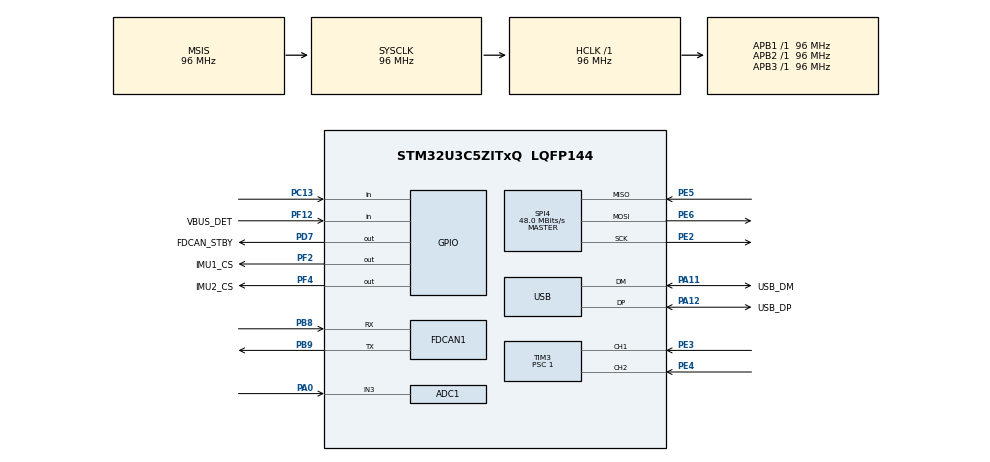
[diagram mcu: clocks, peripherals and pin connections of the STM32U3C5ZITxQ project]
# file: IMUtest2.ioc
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ADC1.Channel-0\#ChannelRegularConversion=ADC_CHANNEL_3
ADC1.MonitoredBy-0\#ChannelRegularConversion=__NULL
ADC1.NbrOfConversion=1
ADC1.NbrOfConversionFlag=1
ADC1.OffsetNumber-0\#ChannelRegularConversion=ADC_OFFSET_NONE
ADC1.Rank-0\#ChannelRegularConversion=1
ADC1.SamplingTime-0\#ChannelRegularConversion=ADC_SAMPLETIME_1CYCLE_5
ADC1.master=1
CORTEX_M33_NS.userName=CORTEX_M33
FDCAN1.AutoRetransmission=ENABLE
FDCAN1.CalculateBaudRateNominal=500000
FDCAN1.CalculateTimeBitNominal=2000
FDCAN1.CalculateTimeQuantumNominal=125.0
FDCAN1.DataPrescaler=1
FDCAN1.DataSyncJumpWidth=1
FDCAN1.DataTimeSeg1=1
FDCAN1.DataTimeSeg2=1
FDCAN1.NominalPrescaler=12
FDCAN1.NominalSyncJumpWidth=2
FDCAN1.NominalTimeSeg1=13
FDCAN1.NominalTimeSeg2=2
Mcu.Family=STM32U3
Mcu.Name=STM32U3C5ZITxQ
Mcu.Package=LQFP144
NUCLEO-U3C5ZI-Q.BUTTON=1
NUCLEO-U3C5ZI-Q.LD1=true
NUCLEO-U3C5ZI-Q.LD2=true
NUCLEO-U3C5ZI-Q.LD3=true
NUCLEO-U3C5ZI-Q.VCP=true
NVIC.EXTI13_IRQn=true\:0\:0\:false\:false\:true\:false\:true\:true
NVIC.PriorityGroup=NVIC_PRIORITYGROUP_4
NVIC.TIM3_IRQn=true\:0\:0\:false\:false\:true\:true\:true\:true
NVIC.USB_FS_IRQn=true\:0\:0\:false\:false\:true\:true\:true\:true
PA0.Mode=IN3-Single-Ended
PA0.Signal=ADC1_IN3
PA10.Signal=USART1_RX
PA11.GPIO_Label=USB_DM
PA11.Mode=Device
PA11.Signal=USB_DM
PA12.GPIO_Label=USB_DP
PA12.Mode=Device
PA12.Signal=USB_DP
PA13\ (JTMS/SWDIO).GPIO_Label=DEBUG_JTMS-SWDIO
PA13\ (JTMS/SWDIO).Signal=DEBUG_JTMS-SWDIO
PA14\ (JTCK/SWCLK).GPIO_Label=DEBUG_JTCK-SWCLK
PA14\ (JTCK/SWCLK).Signal=DEBUG_JTCK-SWCLK
PA15\ (JTDI).GPIO_Label=DEBUG_JTDI
PA15\ (JTDI).Signal=DEBUG_JTDI
PA9.Signal=USART1_TX
PB3\ (JTDO/TRACESWO).GPIO_Label=DEBUG_JTDO-SWO
PB3\ (JTDO/TRACESWO).Signal=DEBUG_JTDO-SWO
PB8.GPIO_FM8=SYSCFG_FASTMODEPLUS_PB8
PB8.GPIO_Speed=GPIO_SPEED_FREQ_VERY_HIGH
PB8.Mode=FDCAN_Activate
PB8.Signal=FDCAN1_RX
PB9.GPIO_FM9=SYSCFG_FASTMODEPLUS_PB9
PB9.GPIO_Speed=GPIO_SPEED_FREQ_VERY_HIGH
PB9.Mode=FDCAN_Activate
PB9.Signal=FDCAN1_TX
PC13.Signal=GPIO_Input
PC14-OSC32_IN\ (PC14).GPIO_Label=RCC_OSC32_IN
PC14-OSC32_IN\ (PC14).Signal=RCC_OSC32_IN
PC15-OSC32_OUT\ (PC15).GPIO_Label=RCC_OSC32_OUT
PC15-OSC32_OUT\ (PC15).Signal=RCC_OSC32_OUT
PC2.GPIO_Label=VSENSE(ADC2_IN1)
PC2.Signal=ADC2_IN1
PD7.GPIO_Label=FDCAN_STBY
PD7.Signal=GPIO_Output
PE2.Mode=Full_Duplex_Master
PE2.Signal=SPI4_SCK
PE3.Signal=S_TIM3_CH1
PE4.Signal=S_TIM3_CH2
PE5.Mode=Full_Duplex_Master
PE5.Signal=SPI4_MISO
PE6.Mode=Full_Duplex_Master
PE6.Signal=SPI4_MOSI
PF12.GPIO_Label=VBUS_DET
PF12.Signal=GPIO_Input
PF2.GPIO_Label=IMU1_CS
PF2.Signal=GPIO_Output
PF4.GPIO_Label=IMU2_CS
PF4.Signal=GPIO_Output
PF8.Signal=FDCAN1_TX
PH0-OSC_IN\ (PH0).Signal=RCC_OSC_IN
PH1-OSC_OUT\ (PH1).Signal=RCC_OSC_OUT
ProjectManager.HeapSize=0x200
ProjectManager.StackSize=0x400
ProjectManager.TargetToolchain=STM32CubeIDE
RCC.ADCFreq_Value=96000000
RCC.AHBFreq_Value=96000000
RCC.APB1Freq_Value=96000000
RCC.APB1TimFreq_Value=96000000
RCC.APB2Freq_Value=96000000
RCC.APB2TimFreq_Value=96000000
RCC.APB3Freq_Value=96000000
RCC.CortexFreq_Value=12000000
RCC.HCLKFreq_Value=96000000
RCC.HSE_VALUE=16000000
RCC.HSI48_VALUE=48000000
RCC.HSI_VALUE=16000000
RCC.ICLKCLockSelection=RCC_ICLKCLKSOURCE_HSI48
RCC.LSE_VALUE=32768
RCC.LSIDIV_VALUE=32000
RCC.MSISDIV=RCC_MSI_DIV1
RCC.SYSCLKFreq_VALUE=96000000
RCC.USBFreq_Value=48000000
SH.S_TIM3_CH1.0=TIM3_CH1,Input_Capture1_from_TI1
SH.S_TIM3_CH2.0=TIM3_CH2,Input_Capture2_from_TI2
SPI4.BaudRatePrescaler=SPI_BAUDRATEPRESCALER_2
SPI4.CalculateBaudRate=48.0 MBits/s
SPI4.Direction=SPI_DIRECTION_2LINES
SPI4.Mode=SPI_MODE_MASTER
SPI4.VirtualType=VM_MASTER
TIM3.Channel-Input_Capture1_from_TI1=TIM_CHANNEL_1
TIM3.Channel-Input_Capture2_from_TI2=TIM_CHANNEL_2
TIM3.PeriodNoDither=65535
TIM3.Prescaler=1
USB.VirtualMode=Device_Only
USBX.BSP.number=1
USBX.Core_System=1
USBX.USBD_CDCACM_EPIN_ADDR=2
USBX.USBD_CDCACM_EPOUT_ADDR=3
USBX.UX_DEVICE_CDC_ACM=1
USBX.UX_Device_Controller=1
USBX.UX_Device_CoreStack=1
USBX0.BSP.STBoard=false
USBX0.BSP.api=Unknown
USBX0.BSP.instance=USB
USBX0.BSP.ip=USB
USBX0.BSP.mode=Device_Only
USBX0.BSP.name=USB_Device
USBX0.BSP.solution=USB
VP_NUCLEO-U3C5ZI-Q_VS_BSP_COMMON.Mode=COMMON
VP_PWR_VS_DBSignals.Mode=DisableDeadBatterySignals
VP_PWR_VS_SECSignals.Mode=Security/Privilege
VP_TIM3_VS_ClockSourceINT.Mode=Internal
VP_USBX_Core_System.Mode=Core_System
VP_USBX_UX\ Device\ CDC\ ACM\ Class_FS.Mode=UX_Device_class_CDC_ACM_FS
VP_USBX_UX\ Device\ Controller_FS.Mode=UX_Device_Controller_FS
VP_USBX_UX\ Device\ CoreStack_FS.Mode=UX_Device_CoreStack_FS
board=NUCLEO-U3C5ZI-Q

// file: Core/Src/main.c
/* USER CODE BEGIN Header */

/**

  ******************************************************************************

  * @file           : main.c

  * @brief          : Main program body

  ******************************************************************************

  * @attention

  *

  * Copyright (c) 2026 STMicroelectronics.

  * All rights reserved.

  *

  * This software is licensed under terms that can be found in the LICENSE file

  * in the root directory of this software component.

  * If no LICENSE file comes with this software, it is provided AS-IS.

  *

  ******************************************************************************

  */

/* USER CODE END Header */
#include "main.h"
#include "app_usbx_device.h"

/* USER CODE BEGIN Includes */
#include "usb_cdc_bridge.h"
#include <stdio.h>
#include <string.h>
/* USER CODE END Includes */

/* USER CODE BEGIN PD */

#define LSM6DSV32X_WHO_AM_I_REG   0x0FU

#define LSM6DSV32X_WHO_AM_I_VAL   0x70U

#define LSM6DSV32X_IF_CFG         0x03U

#define LSM6DSV32X_I2C_I3C_DISABLE 0x01U

#define LSM6DSV32X_CTRL1          0x10U

#define LSM6DSV32X_CTRL2          0x11U

#define LSM6DSV32X_CTRL3          0x12U

#define LSM6DSV32X_CTRL6          0x15U

#define LSM6DSV32X_CTRL8          0x17U

#define LSM6DSV32X_OUTX_L_G       0x22U

/* 240 Hz, high-performance; accel +/-4 g; gyro +/-500 dps */

#define IMU_CTRL1_240HZ            0x07U

#define IMU_CTRL2_240HZ            0x07U

#define IMU_CTRL3_BDU_IFINC        0x44U

#define IMU_CTRL6_500DPS           0x02U

#define IMU_CTRL8_4G               0x04U

#define ACCEL_G_PER_LSB            0.000122f

#define GYRO_DPS_PER_LSB           0.0175f

/* Hall wheel-speed measurement */
#define HALL_TIMER_TARGET_HZ       10000U
#define HALL_TIMEOUT_MS            5000U

/* Steering ADC */
#define STEER_ADC_VDDA_MV           3300U
#define STEER_ADC_FULL_SCALE        4095U
#define STEER_SAMPLE_PERIOD_MS      10U

/* IMU and stream scheduling */
#define IMU_READ_PERIOD_MS          5U
#define STREAM_PERIOD_MS            20U

/* USB command parser */
#define USB_CMD_BUFFER_SIZE         96U

/* USER CODE END PD */

COM_InitTypeDef BspCOMInit;
ADC_HandleTypeDef hadc1;

FDCAN_HandleTypeDef hfdcan1;

SPI_HandleTypeDef hspi4;

TIM_HandleTypeDef htim3;

PCD_HandleTypeDef hpcd_USB_DRD_FS;

/* USER CODE BEGIN PV */

volatile uint8_t imu1_who_am_i = 0x00U;

volatile uint8_t imu2_who_am_i = 0x00U;

volatile HAL_StatusTypeDef imu1_spi_status = HAL_ERROR;

volatile HAL_StatusTypeDef imu2_spi_status = HAL_ERROR;

volatile uint8_t imu1_init_ok = 0U;

volatile uint8_t imu2_init_ok = 0U;

volatile int16_t imu1_gx_raw = 0;

volatile int16_t imu1_gy_raw = 0;

volatile int16_t imu1_gz_raw = 0;

volatile int16_t imu1_ax_raw = 0;

volatile int16_t imu1_ay_raw = 0;

volatile int16_t imu1_az_raw = 0;

volatile float imu1_gx_dps = 0.0f;

volatile float imu1_gy_dps = 0.0f;

volatile float imu1_gz_dps = 0.0f;

volatile float imu1_ax_g = 0.0f;

volatile float imu1_ay_g = 0.0f;

volatile float imu1_az_g = 0.0f;

volatile int16_t imu2_gx_raw = 0;

volatile int16_t imu2_gy_raw = 0;

volatile int16_t imu2_gz_raw = 0;

volatile int16_t imu2_ax_raw = 0;

volatile int16_t imu2_ay_raw = 0;

volatile int16_t imu2_az_raw = 0;

volatile float imu2_gx_dps = 0.0f;

volatile float imu2_gy_dps = 0.0f;

volatile float imu2_gz_dps = 0.0f;

volatile float imu2_ax_g = 0.0f;

volatile float imu2_ay_g = 0.0f;

volatile float imu2_az_g = 0.0f;

/* Hall sensor live/debug values */
volatile float hall1_hz = 0.0f;
volatile float hall2_hz = 0.0f;

volatile uint32_t hall1_period_counts = 0U;
volatile uint32_t hall2_period_counts = 0U;

volatile uint32_t hall1_edge_count = 0U;
volatile uint32_t hall2_edge_count = 0U;

volatile uint32_t hall1_last_capture = 0U;
volatile uint32_t hall2_last_capture = 0U;

volatile uint32_t hall1_last_edge_ms = 0U;
volatile uint32_t hall2_last_edge_ms = 0U;

volatile uint8_t hall1_have_previous = 0U;
volatile uint8_t hall2_have_previous = 0U;

volatile uint32_t tim3_counter_hz = 0U;

/* Steering ADC */
volatile uint32_t steer_adc_raw = 0U;
volatile uint32_t steer_adc_mv = 0U;

/* CAN / USB bridge diagnostics */
volatile uint32_t can_rx_count = 0U;
volatile uint32_t can_tx_count = 0U;
volatile uint32_t can_tx_error_count = 0U;
volatile uint32_t usb_command_count = 0U;
volatile HAL_StatusTypeDef can_start_status = HAL_ERROR;

/* Boot / USB diagnostics */
volatile uint32_t boot_stage = 0U;
volatile UINT usbx_init_status = UX_ERROR;

static uint8_t can_started = 0U;
static uint8_t usb_slcan_mode = 0U;       /* 0 = sensor stream, 1 = strict SLCAN */
static uint8_t slcan_timestamp_enable = 0U;

static char usb_cmd_buffer[USB_CMD_BUFFER_SIZE];
static uint32_t usb_cmd_length = 0U;

static uint32_t last_imu_read_ms = 0U;
static uint32_t last_steer_read_ms = 0U;
static uint32_t last_stream_ms = 0U;

/* USER CODE END PV */

void SystemClock_Config(void);
static void MX_GPIO_Init(void);
static void MX_SPI4_Init(void);
static void MX_TIM3_Init(void);
static void MX_ADC1_Init(void);
static void MX_FDCAN1_Init(void);
/* USER CODE BEGIN PFP */

static HAL_StatusTypeDef IMU_ReadReg(GPIO_TypeDef *cs_port, uint16_t cs_pin,

                                     uint8_t reg, uint8_t *value);

static HAL_StatusTypeDef IMU_WriteReg(GPIO_TypeDef *cs_port, uint16_t cs_pin,

                                      uint8_t reg, uint8_t value);

static HAL_StatusTypeDef IMU_Init(GPIO_TypeDef *cs_port, uint16_t cs_pin,

                                  volatile uint8_t *who_am_i);

static HAL_StatusTypeDef IMU_ReadMotion(GPIO_TypeDef *cs_port, uint16_t cs_pin,

                                        volatile int16_t *gx_raw,

                                        volatile int16_t *gy_raw,

                                        volatile int16_t *gz_raw,

                                        volatile int16_t *ax_raw,

                                        volatile int16_t *ay_raw,

                                        volatile int16_t *az_raw,

                                        volatile float *gx_dps,

                                        volatile float *gy_dps,

                                        volatile float *gz_dps,

                                        volatile float *ax_g,

                                        volatile float *ay_g,

                                        volatile float *az_g);

static HAL_StatusTypeDef HALL_Init(void);

static HAL_StatusTypeDef CAN_Bridge_Start(void);
static void CAN_Bridge_Stop(void);
static void CAN_ServiceRx(void);
static HAL_StatusTypeDef CAN_SendFrame(uint32_t identifier,
                                       uint8_t extended,
                                       uint8_t remote,
                                       const uint8_t *data,
                                       uint8_t dlc);

static void Steering_ADC_Service(uint32_t now_ms);
static void Sensor_Stream_Service(uint32_t now_ms);
static void USB_Command_Service(void);
static void SLCAN_ExecuteCommand(const char *cmd);
static uint8_t ParseHex(const char *text, uint32_t digits, uint32_t *value);
static uint32_t DLC_To_HAL(uint8_t dlc);
static uint8_t HAL_DLC_To_Bytes(uint32_t dlc);
static char HexNibble(uint8_t value);
static void CAN_FormatSLCAN(const FDCAN_RxHeaderTypeDef *header,
                            const uint8_t *data,
                            char *out,
                            uint32_t out_size);

/* USER CODE END PFP */

/* USER CODE BEGIN 0 */

static HAL_StatusTypeDef IMU_ReadReg(GPIO_TypeDef *cs_port, uint16_t cs_pin,

                                     uint8_t reg, uint8_t *value)

{

  uint8_t tx[2] = {(uint8_t)(reg | 0x80U), 0x00U};

  uint8_t rx[2] = {0U, 0U};

  HAL_StatusTypeDef status;

  HAL_GPIO_WritePin(cs_port, cs_pin, GPIO_PIN_RESET);

  status = HAL_SPI_TransmitReceive(&hspi4, tx, rx, 2U, 100U);

  HAL_GPIO_WritePin(cs_port, cs_pin, GPIO_PIN_SET);

  if ((status == HAL_OK) && (value != NULL))

  {

    *value = rx[1];

  }

  return status;

}

static HAL_StatusTypeDef IMU_WriteReg(GPIO_TypeDef *cs_port, uint16_t cs_pin,

                                      uint8_t reg, uint8_t value)

{

  uint8_t tx[2] = {(uint8_t)(reg & 0x7FU), value};

  HAL_StatusTypeDef status;

  HAL_GPIO_WritePin(cs_port, cs_pin, GPIO_PIN_RESET);

  status = HAL_SPI_Transmit(&hspi4, tx, 2U, 100U);

  HAL_GPIO_WritePin(cs_port, cs_pin, GPIO_PIN_SET);

  return status;

}

static HAL_StatusTypeDef IMU_Init(GPIO_TypeDef *cs_port, uint16_t cs_pin,

                                  volatile uint8_t *who_am_i)

{

  uint8_t who = 0U;

  uint8_t verify = 0U;

  if (IMU_ReadReg(cs_port, cs_pin, LSM6DSV32X_WHO_AM_I_REG, &who) != HAL_OK)

    return HAL_ERROR;

  *who_am_i = who;

  if (who != LSM6DSV32X_WHO_AM_I_VAL)

    return HAL_ERROR;

  /*

   * Important for multiple LSM6DSV32X devices on the same SPI bus:

   * disable the I2C/I3C interface while this device is selected.

   * IF_CFG (0x03), bit 0 = I2C_I3C_disable.

   */

  if (IMU_WriteReg(cs_port, cs_pin,

                   LSM6DSV32X_IF_CFG,

                   LSM6DSV32X_I2C_I3C_DISABLE) != HAL_OK)

    return HAL_ERROR;

  if (IMU_WriteReg(cs_port, cs_pin, LSM6DSV32X_CTRL3, IMU_CTRL3_BDU_IFINC) != HAL_OK)

    return HAL_ERROR;

  if (IMU_WriteReg(cs_port, cs_pin, LSM6DSV32X_CTRL8, IMU_CTRL8_4G) != HAL_OK)

    return HAL_ERROR;

  if (IMU_WriteReg(cs_port, cs_pin, LSM6DSV32X_CTRL6, IMU_CTRL6_500DPS) != HAL_OK)

    return HAL_ERROR;

  if (IMU_WriteReg(cs_port, cs_pin, LSM6DSV32X_CTRL1, IMU_CTRL1_240HZ) != HAL_OK)

    return HAL_ERROR;

  if (IMU_WriteReg(cs_port, cs_pin, LSM6DSV32X_CTRL2, IMU_CTRL2_240HZ) != HAL_OK)

    return HAL_ERROR;

  HAL_Delay(20U);

  if (IMU_ReadReg(cs_port, cs_pin, LSM6DSV32X_CTRL1, &verify) != HAL_OK)

    return HAL_ERROR;

  if (verify != IMU_CTRL1_240HZ)

    return HAL_ERROR;

  return HAL_OK;

}

static HAL_StatusTypeDef IMU_ReadMotion(GPIO_TypeDef *cs_port, uint16_t cs_pin,

                                        volatile int16_t *gx_raw,

                                        volatile int16_t *gy_raw,

                                        volatile int16_t *gz_raw,

                                        volatile int16_t *ax_raw,

                                        volatile int16_t *ay_raw,

                                        volatile int16_t *az_raw,

                                        volatile float *gx_dps,

                                        volatile float *gy_dps,

                                        volatile float *gz_dps,

                                        volatile float *ax_g,

                                        volatile float *ay_g,

                                        volatile float *az_g)

{

  uint8_t tx[13] = {0U};

  uint8_t rx[13] = {0U};

  HAL_StatusTypeDef status;

  int16_t gx, gy, gz, ax, ay, az;

  tx[0] = (uint8_t)(LSM6DSV32X_OUTX_L_G | 0x80U);

  HAL_GPIO_WritePin(cs_port, cs_pin, GPIO_PIN_RESET);

  status = HAL_SPI_TransmitReceive(&hspi4, tx, rx, 13U, 100U);

  HAL_GPIO_WritePin(cs_port, cs_pin, GPIO_PIN_SET);

  if (status != HAL_OK)

    return status;

  gx = (int16_t)((uint16_t)rx[1]  | ((uint16_t)rx[2]  << 8));

  gy = (int16_t)((uint16_t)rx[3]  | ((uint16_t)rx[4]  << 8));

  gz = (int16_t)((uint16_t)rx[5]  | ((uint16_t)rx[6]  << 8));

  ax = (int16_t)((uint16_t)rx[7]  | ((uint16_t)rx[8]  << 8));

  ay = (int16_t)((uint16_t)rx[9]  | ((uint16_t)rx[10] << 8));

  az = (int16_t)((uint16_t)rx[11] | ((uint16_t)rx[12] << 8));

  *gx_raw = gx;

  *gy_raw = gy;

  *gz_raw = gz;

  *ax_raw = ax;

  *ay_raw = ay;

  *az_raw = az;

  *gx_dps = (float)gx * GYRO_DPS_PER_LSB;

  *gy_dps = (float)gy * GYRO_DPS_PER_LSB;

  *gz_dps = (float)gz * GYRO_DPS_PER_LSB;

  *ax_g = (float)ax * ACCEL_G_PER_LSB;

  *ay_g = (float)ay * ACCEL_G_PER_LSB;

  *az_g = (float)az * ACCEL_G_PER_LSB;

  return HAL_OK;

}

static HAL_StatusTypeDef HALL_Init(void)
{
  RCC_ClkInitTypeDef clk = {0};
  uint32_t flash_latency = 0U;
  uint32_t pclk1_hz;
  uint32_t tim3_input_hz;
  uint32_t divider;

  /*
   * TIM3 is on APB1. If APB1 is prescaled, the timer clock is normally
   * twice PCLK1; otherwise it is equal to PCLK1.
   */
  HAL_RCC_GetClockConfig(&clk, &flash_latency);
  pclk1_hz = HAL_RCC_GetPCLK1Freq();

  if (clk.APB1CLKDivider == RCC_HCLK_DIV1)
  {
    tim3_input_hz = pclk1_hz;
  }
  else
  {
    tim3_input_hz = pclk1_hz * 2U;
  }

  /* Choose a prescaler that gives approximately 10 kHz timer ticks. */
  divider = (tim3_input_hz + (HALL_TIMER_TARGET_HZ / 2U)) / HALL_TIMER_TARGET_HZ;
  if (divider == 0U)
  {
    divider = 1U;
  }

  __HAL_TIM_DISABLE(&htim3);
  __HAL_TIM_SET_PRESCALER(&htim3, divider - 1U);
  __HAL_TIM_SET_COUNTER(&htim3, 0U);

  /* Force the new prescaler value to load immediately. */
  htim3.Instance->EGR = TIM_EGR_UG;

  tim3_counter_hz = tim3_input_hz / divider;

  hall1_hz = 0.0f;
  hall2_hz = 0.0f;
  hall1_have_previous = 0U;
  hall2_have_previous = 0U;

  if (HAL_TIM_IC_Start_IT(&htim3, TIM_CHANNEL_1) != HAL_OK)
  {
    return HAL_ERROR;
  }

  if (HAL_TIM_IC_Start_IT(&htim3, TIM_CHANNEL_2) != HAL_OK)
  {
    return HAL_ERROR;
  }

  return HAL_OK;
}

static char HexNibble(uint8_t value)
{
  value &= 0x0FU;
  return (value < 10U) ? (char)('0' + value) : (char)('A' + (value - 10U));
}

static uint8_t ParseHex(const char *text, uint32_t digits, uint32_t *value)
{
  uint32_t result = 0U;
  uint32_t i;

  if ((text == NULL) || (value == NULL))
  {
    return 0U;
  }

  for (i = 0U; i < digits; i++)
  {
    char c = text[i];
    uint8_t n;

    if ((c >= '0') && (c <= '9'))
    {
      n = (uint8_t)(c - '0');
    }
    else if ((c >= 'A') && (c <= 'F'))
    {
      n = (uint8_t)(c - 'A' + 10);
    }
    else if ((c >= 'a') && (c <= 'f'))
    {
      n = (uint8_t)(c - 'a' + 10);
    }
    else
    {
      return 0U;
    }

    result = (result << 4) | n;
  }

  *value = result;
  return 1U;
}

static uint32_t DLC_To_HAL(uint8_t dlc)
{
  switch (dlc)
  {
    case 0: return FDCAN_DLC_BYTES_0;
    case 1: return FDCAN_DLC_BYTES_1;
    case 2: return FDCAN_DLC_BYTES_2;
    case 3: return FDCAN_DLC_BYTES_3;
    case 4: return FDCAN_DLC_BYTES_4;
    case 5: return FDCAN_DLC_BYTES_5;
    case 6: return FDCAN_DLC_BYTES_6;
    case 7: return FDCAN_DLC_BYTES_7;
    default: return FDCAN_DLC_BYTES_8;
  }
}

static uint8_t HAL_DLC_To_Bytes(uint32_t dlc)
{
  switch (dlc)
  {
    case FDCAN_DLC_BYTES_0: return 0U;
    case FDCAN_DLC_BYTES_1: return 1U;
    case FDCAN_DLC_BYTES_2: return 2U;
    case FDCAN_DLC_BYTES_3: return 3U;
    case FDCAN_DLC_BYTES_4: return 4U;
    case FDCAN_DLC_BYTES_5: return 5U;
    case FDCAN_DLC_BYTES_6: return 6U;
    case FDCAN_DLC_BYTES_7: return 7U;
    default: return 8U;
  }
}

static HAL_StatusTypeDef CAN_Bridge_Start(void)
{
  if (can_started != 0U)
  {
    return HAL_OK;
  }

  HAL_GPIO_WritePin(FDCAN_STBY_GPIO_Port, FDCAN_STBY_Pin, GPIO_PIN_RESET);

  /*
   * No explicit ID filters are configured. Accept every non-matching
   * standard and extended frame into FIFO0, including remote frames.
   */
  if (HAL_FDCAN_ConfigGlobalFilter(&hfdcan1,
                                   FDCAN_ACCEPT_IN_RX_FIFO0,
                                   FDCAN_ACCEPT_IN_RX_FIFO0,
                                   FDCAN_FILTER_REMOTE,
                                   FDCAN_FILTER_REMOTE) != HAL_OK)
  {
    return HAL_ERROR;
  }

  if (HAL_FDCAN_Start(&hfdcan1) != HAL_OK)
  {
    return HAL_ERROR;
  }

  can_started = 1U;
  return HAL_OK;
}

static void CAN_Bridge_Stop(void)
{
  if (can_started != 0U)
  {
    (void)HAL_FDCAN_Stop(&hfdcan1);
    can_started = 0U;
  }
}

static HAL_StatusTypeDef CAN_SendFrame(uint32_t identifier,
                                       uint8_t extended,
                                       uint8_t remote,
                                       const uint8_t *data,
                                       uint8_t dlc)
{
  FDCAN_TxHeaderTypeDef tx = {0};

  if ((can_started == 0U) || (dlc > 8U))
  {
    return HAL_ERROR;
  }

  tx.Identifier = identifier;
  tx.IdType = (extended != 0U) ? FDCAN_EXTENDED_ID : FDCAN_STANDARD_ID;
  tx.TxFrameType = (remote != 0U) ? FDCAN_REMOTE_FRAME : FDCAN_DATA_FRAME;
  tx.DataLength = DLC_To_HAL(dlc);
  tx.ErrorStateIndicator = FDCAN_ESI_ACTIVE;
  tx.BitRateSwitch = FDCAN_BRS_OFF;
  tx.FDFormat = FDCAN_CLASSIC_CAN;
  tx.TxEventFifoControl = FDCAN_NO_TX_EVENTS;
  tx.MessageMarker = 0U;

  if (HAL_FDCAN_AddMessageToTxFifoQ(&hfdcan1,
                                    &tx,
                                    (uint8_t *)data) != HAL_OK)
  {
    can_tx_error_count++;
    return HAL_ERROR;
  }

  can_tx_count++;
  return HAL_OK;
}

static void CAN_FormatSLCAN(const FDCAN_RxHeaderTypeDef *header,
                            const uint8_t *data,
                            char *out,
                            uint32_t out_size)
{
  uint8_t dlc;
  uint32_t pos = 0U;
  uint32_t id_digits;
  uint32_t shift;
  uint8_t i;
  uint16_t ts;

  if ((header == NULL) || (out == NULL) || (out_size < 8U))
  {
    return;
  }

  dlc = HAL_DLC_To_Bytes(header->DataLength);

  if (header->IdType == FDCAN_EXTENDED_ID)
  {
    out[pos++] = (header->RxFrameType == FDCAN_REMOTE_FRAME) ? 'R' : 'T';
    id_digits = 8U;
  }
  else
  {
    out[pos++] = (header->RxFrameType == FDCAN_REMOTE_FRAME) ? 'r' : 't';
    id_digits = 3U;
  }

  for (i = 0U; i < id_digits; i++)
  {
    shift = (id_digits - 1U - i) * 4U;
    out[pos++] = HexNibble((uint8_t)(header->Identifier >> shift));
  }

  out[pos++] = HexNibble(dlc);

  if (header->RxFrameType == FDCAN_DATA_FRAME)
  {
    for (i = 0U; (i < dlc) && ((pos + 2U) < out_size); i++)
    {
      out[pos++] = HexNibble((uint8_t)(data[i] >> 4));
      out[pos++] = HexNibble(data[i]);
    }
  }

  if ((slcan_timestamp_enable != 0U) && ((pos + 4U) < out_size))
  {
    ts = (uint16_t)(HAL_GetTick() & 0xFFFFU);
    out[pos++] = HexNibble((uint8_t)(ts >> 12));
    out[pos++] = HexNibble((uint8_t)(ts >> 8));
    out[pos++] = HexNibble((uint8_t)(ts >> 4));
    out[pos++] = HexNibble((uint8_t)ts);
  }

  out[pos++] = '\r';
  out[pos] = '\0';
}

static void CAN_ServiceRx(void)
{
  FDCAN_RxHeaderTypeDef rx_header;
  uint8_t data[8];
  char frame[48];
  char line[80];

  if (can_started == 0U)
  {
    return;
  }

  while (HAL_FDCAN_GetRxFifoFillLevel(&hfdcan1, FDCAN_RX_FIFO0) != 0U)
  {
    if (HAL_FDCAN_GetRxMessage(&hfdcan1,
                               FDCAN_RX_FIFO0,
                               &rx_header,
                               data) != HAL_OK)
    {
      break;
    }

    can_rx_count++;
    CAN_FormatSLCAN(&rx_header, data, frame, sizeof(frame));

    if (usb_slcan_mode != 0U)
    {
      (void)USB_CDC_QueueText(frame);
    }
    else
    {
      int n = snprintf(line, sizeof(line), "C,%lu,%s\n",
                       (unsigned long)HAL_GetTick(), frame);
      if (n > 0)
      {
        (void)USB_CDC_QueueBytes((const uint8_t *)line, (uint32_t)n);
      }
    }
  }
}

static void Steering_ADC_Service(uint32_t now_ms)
{
  if ((now_ms - last_steer_read_ms) < STEER_SAMPLE_PERIOD_MS)
  {
    return;
  }

  last_steer_read_ms = now_ms;

  if (HAL_ADC_Start(&hadc1) != HAL_OK)
  {
    return;
  }

  if (HAL_ADC_PollForConversion(&hadc1, 2U) == HAL_OK)
  {
    steer_adc_raw = HAL_ADC_GetValue(&hadc1);
    steer_adc_mv = (steer_adc_raw * STEER_ADC_VDDA_MV +
                    (STEER_ADC_FULL_SCALE / 2U)) /
                   STEER_ADC_FULL_SCALE;
  }

  (void)HAL_ADC_Stop(&hadc1);
}

static void Sensor_Stream_Service(uint32_t now_ms)
{
  char line[180];
  int n;

  int32_t i1_ax_mg, i1_ay_mg, i1_az_mg;
  int32_t i2_ax_mg, i2_ay_mg, i2_az_mg;
  int32_t i1_gx_mdps, i1_gy_mdps, i1_gz_mdps;
  int32_t i2_gx_mdps, i2_gy_mdps, i2_gz_mdps;
  uint32_t h1_mhz, h2_mhz;

  if ((usb_slcan_mode != 0U) ||
      ((now_ms - last_stream_ms) < STREAM_PERIOD_MS))
  {
    return;
  }

  last_stream_ms = now_ms;

  /* Integer engineering units avoid requiring printf floating-point support. */
  i1_ax_mg = ((int32_t)imu1_ax_raw * 122) / 1000;
  i1_ay_mg = ((int32_t)imu1_ay_raw * 122) / 1000;
  i1_az_mg = ((int32_t)imu1_az_raw * 122) / 1000;

  i2_ax_mg = ((int32_t)imu2_ax_raw * 122) / 1000;
  i2_ay_mg = ((int32_t)imu2_ay_raw * 122) / 1000;
  i2_az_mg = ((int32_t)imu2_az_raw * 122) / 1000;

  i1_gx_mdps = ((int32_t)imu1_gx_raw * 175) / 10;
  i1_gy_mdps = ((int32_t)imu1_gy_raw * 175) / 10;
  i1_gz_mdps = ((int32_t)imu1_gz_raw * 175) / 10;

  i2_gx_mdps = ((int32_t)imu2_gx_raw * 175) / 10;
  i2_gy_mdps = ((int32_t)imu2_gy_raw * 175) / 10;
  i2_gz_mdps = ((int32_t)imu2_gz_raw * 175) / 10;

  h1_mhz = (uint32_t)((hall1_hz * 1000.0f) + 0.5f);
  h2_mhz = (uint32_t)((hall2_hz * 1000.0f) + 0.5f);

  n = snprintf(line, sizeof(line),
               "I1,%lu,AXmg=%ld,AYmg=%ld,AZmg=%ld,GXmdps=%ld,GYmdps=%ld,GZmdps=%ld\r\n",
               (unsigned long)now_ms,
               (long)i1_ax_mg, (long)i1_ay_mg, (long)i1_az_mg,
               (long)i1_gx_mdps, (long)i1_gy_mdps, (long)i1_gz_mdps);
  if (n > 0)
  {
    (void)USB_CDC_QueueBytes((const uint8_t *)line, (uint32_t)n);
  }

  n = snprintf(line, sizeof(line),
               "I2,%lu,AXmg=%ld,AYmg=%ld,AZmg=%ld,GXmdps=%ld,GYmdps=%ld,GZmdps=%ld\r\n",
               (unsigned long)now_ms,
               (long)i2_ax_mg, (long)i2_ay_mg, (long)i2_az_mg,
               (long)i2_gx_mdps, (long)i2_gy_mdps, (long)i2_gz_mdps);
  if (n > 0)
  {
    (void)USB_CDC_QueueBytes((const uint8_t *)line, (uint32_t)n);
  }

  n = snprintf(line, sizeof(line),
               "W,%lu,H1mHz=%lu,H2mHz=%lu\r\n",
               (unsigned long)now_ms,
               (unsigned long)h1_mhz,
               (unsigned long)h2_mhz);
  if (n > 0)
  {
    (void)USB_CDC_QueueBytes((const uint8_t *)line, (uint32_t)n);
  }

  n = snprintf(line, sizeof(line),
               "S,%lu,ADC=%lu,MV=%lu\r\n",
               (unsigned long)now_ms,
               (unsigned long)steer_adc_raw,
               (unsigned long)steer_adc_mv);
  if (n > 0)
  {
    (void)USB_CDC_QueueBytes((const uint8_t *)line, (uint32_t)n);
  }
}

static void SLCAN_ExecuteCommand(const char *cmd)
{
  uint32_t id = 0U;
  uint32_t tmp = 0U;
  uint8_t data[8] = {0U};
  uint8_t dlc = 0U;
  uint8_t extended = 0U;
  uint8_t remote = 0U;
  uint32_t id_digits;
  uint32_t i;
  uint32_t expected_length;
  size_t len;

  if ((cmd == NULL) || (cmd[0] == '\0'))
  {
    return;
  }

  usb_command_count++;
  len = strlen(cmd);

  switch (cmd[0])
  {
    case 'S':
      /* Fixed firmware bitrate: S6 = 500 kbit/s. */
      if ((len == 2U) && (cmd[1] == '6'))
      {
        (void)USB_CDC_QueueText("\r");
      }
      else
      {
        (void)USB_CDC_QueueText("\a");
      }
      return;

    case 'O':
      if (CAN_Bridge_Start() == HAL_OK)
      {
        usb_slcan_mode = 1U;
        (void)USB_CDC_QueueText("\r");
      }
      else
      {
        (void)USB_CDC_QueueText("\a");
      }
      return;

    case 'C':
      CAN_Bridge_Stop();
      (void)USB_CDC_QueueText("\r");
      return;

    case 'Z':
      if ((len == 2U) && ((cmd[1] == '0') || (cmd[1] == '1')))
      {
        slcan_timestamp_enable = (cmd[1] == '1') ? 1U : 0U;
        (void)USB_CDC_QueueText("\r");
      }
      else
      {
        (void)USB_CDC_QueueText("\a");
      }
      return;

    case 'V':
      (void)USB_CDC_QueueText("V0101\r");
      return;

    case 'v':
      (void)USB_CDC_QueueText("v0101\r");
      return;

    case 'N':
      (void)USB_CDC_QueueText("N0001\r");
      return;

    case 'F':
      (void)USB_CDC_QueueText("F00\r");
      return;

    case 'X':
      /* Custom extension: X0 = strict SLCAN, X1 = sensor/CAN stream. */
      if ((len == 2U) && (cmd[1] == '0'))
      {
        usb_slcan_mode = 1U;
        (void)USB_CDC_QueueText("\r");
      }
      else if ((len == 2U) && (cmd[1] == '1'))
      {
        usb_slcan_mode = 0U;
        if (CAN_Bridge_Start() == HAL_OK)
        {
          (void)USB_CDC_QueueText("\r");
        }
        else
        {
          (void)USB_CDC_QueueText("\a");
        }
      }
      else
      {
        (void)USB_CDC_QueueText("\a");
      }
      return;

    case 't':
    case 'T':
    case 'r':
    case 'R':
      extended = ((cmd[0] == 'T') || (cmd[0] == 'R')) ? 1U : 0U;
      remote = ((cmd[0] == 'r') || (cmd[0] == 'R')) ? 1U : 0U;
      id_digits = (extended != 0U) ? 8U : 3U;

      if (len < (size_t)(1U + id_digits + 1U))
      {
        (void)USB_CDC_QueueText("\a");
        return;
      }

      if (ParseHex(&cmd[1], id_digits, &id) == 0U)
      {
        (void)USB_CDC_QueueText("\a");
        return;
      }

      if (ParseHex(&cmd[1U + id_digits], 1U, &tmp) == 0U)
      {
        (void)USB_CDC_QueueText("\a");
        return;
      }

      dlc = (uint8_t)tmp;
      if (dlc > 8U)
      {
        (void)USB_CDC_QueueText("\a");
        return;
      }

      if ((extended == 0U) && (id > 0x7FFU))
      {
        (void)USB_CDC_QueueText("\a");
        return;
      }

      if ((extended != 0U) && (id > 0x1FFFFFFFU))
      {
        (void)USB_CDC_QueueText("\a");
        return;
      }

      expected_length = 1U + id_digits + 1U;
      if (remote == 0U)
      {
        expected_length += ((uint32_t)dlc * 2U);
      }

      if (len != (size_t)expected_length)
      {
        (void)USB_CDC_QueueText("\a");
        return;
      }

      if (remote == 0U)
      {
        for (i = 0U; i < dlc; i++)
        {
          if (ParseHex(&cmd[1U + id_digits + 1U + (i * 2U)],
                       2U, &tmp) == 0U)
          {
            (void)USB_CDC_QueueText("\a");
            return;
          }
          data[i] = (uint8_t)tmp;
        }
      }

      if (CAN_SendFrame(id, extended, remote, data, dlc) == HAL_OK)
      {
        (void)USB_CDC_QueueText("\r");
      }
      else
      {
        (void)USB_CDC_QueueText("\a");
      }
      return;

    default:
      (void)USB_CDC_QueueText("\a");
      return;
  }
}

static void USB_Command_Service(void)
{
  uint8_t byte;

  while (USB_CDC_ReadByte(&byte) != 0U)
  {
    if ((byte == '\r') || (byte == '\n'))
    {
      if (usb_cmd_length != 0U)
      {
        usb_cmd_buffer[usb_cmd_length] = '\0';
        SLCAN_ExecuteCommand(usb_cmd_buffer);
        usb_cmd_length = 0U;
      }
      continue;
    }

    if (usb_cmd_length < (USB_CMD_BUFFER_SIZE - 1U))
    {
      usb_cmd_buffer[usb_cmd_length++] = (char)byte;
    }
    else
    {
      usb_cmd_length = 0U;
      (void)USB_CDC_QueueText("\a");
    }
  }
}

/* USER CODE END 0 */

int main(void)
{

  /* MCU Configuration--------------------------------------------------------*/

  /* Reset of all peripherals, Initializes the Flash interface and the Systick. */
  HAL_Init();

  /* Configure the system clock */
  SystemClock_Config();

  /* Initialize all configured peripherals */
  MX_GPIO_Init();
  MX_SPI4_Init();
  MX_TIM3_Init();
  MX_ADC1_Init();
  MX_FDCAN1_Init();
  /* USBX is intentionally started later, after IMU/Hall/CAN startup. */
  /* USER CODE BEGIN 2 */

  boot_stage = 20U;

  /* Both devices share SPI4, so both CS lines must idle HIGH. */
  HAL_GPIO_WritePin(IMU1_CS_GPIO_Port, IMU1_CS_Pin, GPIO_PIN_SET);
  HAL_GPIO_WritePin(IMU2_CS_GPIO_Port, IMU2_CS_Pin, GPIO_PIN_SET);

  HAL_Delay(100U);

  imu1_spi_status = IMU_Init(IMU1_CS_GPIO_Port, IMU1_CS_Pin, &imu1_who_am_i);
  imu1_init_ok = (imu1_spi_status == HAL_OK) ? 1U : 0U;

  imu2_spi_status = IMU_Init(IMU2_CS_GPIO_Port, IMU2_CS_Pin, &imu2_who_am_i);
  imu2_init_ok = (imu2_spi_status == HAL_OK) ? 1U : 0U;

  boot_stage = 30U;

  /* Start TIM3 input capture for both Hall sensors. */
  if (HALL_Init() != HAL_OK)
  {
    boot_stage = 31U;
    Error_Handler();
  }

  boot_stage = 40U;

  /*
   * Bring USB up BEFORE CAN.
   * CAN startup must never prevent the USB diagnostic/interface from appearing.
   */
  usbx_init_status = MX_USBX_Device_Init();

  if (usbx_init_status == UX_SUCCESS)
  {
    boot_stage = 50U;
  }
  else
  {
    boot_stage = 90U;
  }

  /*
   * Start CAN at 500 kbit/s, but keep CAN failure non-fatal.
   * can_start_status is visible in Live Expressions.
   */
  can_start_status = CAN_Bridge_Start();

  if ((usbx_init_status == UX_SUCCESS) && (can_start_status == HAL_OK))
  {
    boot_stage = 100U;
  }
  else if ((usbx_init_status == UX_SUCCESS) && (can_start_status != HAL_OK))
  {
    boot_stage = 60U;   /* USB good, CAN start failed */
  }

  last_imu_read_ms = HAL_GetTick();
  last_steer_read_ms = HAL_GetTick();
  last_stream_ms = HAL_GetTick();

  /* USER CODE END 2 */

  /* Initialize leds */
  BSP_LED_Init(LED_GREEN);
  BSP_LED_Init(LED_RED);
  BSP_LED_Init(LED_BLUE);

  /* Initialize USER push-button, will be used to trigger an interrupt each time it's pressed.*/
  BSP_PB_Init(BUTTON_USER, BUTTON_MODE_EXTI);

  /* Initialize COM1 port (115200, 8 bits (7-bit data + 1 stop bit), no parity */
  BspCOMInit.BaudRate   = 115200;
  BspCOMInit.WordLength = COM_WORDLENGTH_8B;
  BspCOMInit.StopBits   = COM_STOPBITS_1;
  BspCOMInit.Parity     = COM_PARITY_NONE;
  BspCOMInit.HwFlowCtl  = COM_HWCONTROL_NONE;
  if (BSP_COM_Init(COM1, &BspCOMInit) != BSP_ERROR_NONE)
  {
    Error_Handler();
  }

  /* Infinite loop */
  while (1)
  {

    /* USER CODE BEGIN 3 */

    uint32_t now_ms = HAL_GetTick();

    /* Standalone USBX needs frequent background service, but only if init succeeded. */
    if (usbx_init_status == UX_SUCCESS)
    {
      USB_CDC_Service();
      USB_Command_Service();
    }

    /* Keep draining CAN even if USB is not available. */
    CAN_ServiceRx();

    /* Read both IMUs at ~200 Hz; sensor ODR is 240 Hz. */
    if ((now_ms - last_imu_read_ms) >= IMU_READ_PERIOD_MS)
    {
      last_imu_read_ms = now_ms;

      if (imu1_init_ok != 0U)
      {
        imu1_spi_status = IMU_ReadMotion(IMU1_CS_GPIO_Port, IMU1_CS_Pin,
                                         &imu1_gx_raw, &imu1_gy_raw, &imu1_gz_raw,
                                         &imu1_ax_raw, &imu1_ay_raw, &imu1_az_raw,
                                         &imu1_gx_dps, &imu1_gy_dps, &imu1_gz_dps,
                                         &imu1_ax_g, &imu1_ay_g, &imu1_az_g);
      }

      if (imu2_init_ok != 0U)
      {
        imu2_spi_status = IMU_ReadMotion(IMU2_CS_GPIO_Port, IMU2_CS_Pin,
                                         &imu2_gx_raw, &imu2_gy_raw, &imu2_gz_raw,
                                         &imu2_ax_raw, &imu2_ay_raw, &imu2_az_raw,
                                         &imu2_gx_dps, &imu2_gy_dps, &imu2_gz_dps,
                                         &imu2_ax_g, &imu2_ay_g, &imu2_az_g);
      }
    }

    Steering_ADC_Service(now_ms);

    /* Hall stop timeout. */
    if ((hall1_have_previous != 0U) &&
        ((now_ms - hall1_last_edge_ms) > HALL_TIMEOUT_MS))
    {
      hall1_hz = 0.0f;
      hall1_period_counts = 0U;
      hall1_have_previous = 0U;
    }

    if ((hall2_have_previous != 0U) &&
        ((now_ms - hall2_last_edge_ms) > HALL_TIMEOUT_MS))
    {
      hall2_hz = 0.0f;
      hall2_period_counts = 0U;
      hall2_have_previous = 0U;
    }

    if (usbx_init_status == UX_SUCCESS)
    {
      Sensor_Stream_Service(now_ms);
    }

    if ((imu1_init_ok != 0U) &&
        (imu2_init_ok != 0U) &&
        (imu1_spi_status == HAL_OK) &&
        (imu2_spi_status == HAL_OK))
    {
      BSP_LED_On(LED_GREEN);
      BSP_LED_Off(LED_RED);
    }
    else
    {
      BSP_LED_Off(LED_GREEN);
      BSP_LED_On(LED_RED);
    }

    /* Give USBX another chance after queuing stream/CAN data. */
    if (usbx_init_status == UX_SUCCESS)
    {
      USB_CDC_Service();
    }

  }

  /* USER CODE END 3 */
}

void SystemClock_Config(void)
{
  RCC_OscInitTypeDef RCC_OscInitStruct = {0};
  RCC_ClkInitTypeDef RCC_ClkInitStruct = {0};
  RCC_CRSInitTypeDef RCC_CRSInitStruct = {0};

  /** Configure the System Power Supply
  */
  if (HAL_PWREx_ConfigSupply(PWR_SMPS_SUPPLY) != HAL_OK)
  {
    Error_Handler();
  }

  /** Enable Epod Booster
  */
  if (HAL_RCCEx_EpodBoosterClkConfig(RCC_EPODBOOSTER_SOURCE_MSIS, RCC_EPODBOOSTER_DIV1) != HAL_OK)
  {
    Error_Handler();
  }
  if (HAL_PWREx_EnableEpodBooster() != HAL_OK)
  {
    Error_Handler();
  }

  /** Configure the main internal regulator output voltage
  */
  if (HAL_PWREx_ControlVoltageScaling(PWR_REGULATOR_VOLTAGE_SCALE1) != HAL_OK)
  {
    Error_Handler();
  }

  /** Set Flash latency before increasing MSIS
  */
  __HAL_FLASH_SET_LATENCY(FLASH_LATENCY_3);

  /** Initializes the CPU, AHB and APB buses clocks
  */
  RCC_OscInitStruct.OscillatorType = RCC_OSCILLATORTYPE_HSI48|RCC_OSCILLATORTYPE_MSIS;
  RCC_OscInitStruct.HSI48State = RCC_HSI48_ON;
  RCC_OscInitStruct.MSISState = RCC_MSI_ON;
  RCC_OscInitStruct.MSISSource = RCC_MSI_RC0;
  RCC_OscInitStruct.MSISDiv = RCC_MSI_DIV1;
  if (HAL_RCC_OscConfig(&RCC_OscInitStruct) != HAL_OK)
  {
    Error_Handler();
  }

  /** Initializes the CPU, AHB and APB buses clocks
  */
  RCC_ClkInitStruct.ClockType = RCC_CLOCKTYPE_HCLK|RCC_CLOCKTYPE_SYSCLK
                              |RCC_CLOCKTYPE_PCLK1|RCC_CLOCKTYPE_PCLK2
                              |RCC_CLOCKTYPE_PCLK3;
  RCC_ClkInitStruct.SYSCLKSource = RCC_SYSCLKSOURCE_MSIS;
  RCC_ClkInitStruct.AHBCLKDivider = RCC_SYSCLK_DIV1;
  RCC_ClkInitStruct.APB1CLKDivider = RCC_HCLK_DIV1;
  RCC_ClkInitStruct.APB2CLKDivider = RCC_HCLK_DIV1;
  RCC_ClkInitStruct.APB3CLKDivider = RCC_HCLK_DIV1;

  if (HAL_RCC_ClockConfig(&RCC_ClkInitStruct, FLASH_LATENCY_3) != HAL_OK)
  {
    Error_Handler();
  }

  /* Synchronize HSI48 to USB SOF, as in ST's USB CDC reference setup. */
  __HAL_RCC_CRS_CLK_ENABLE();

  RCC_CRSInitStruct.Prescaler = RCC_CRS_SYNC_DIV1;
  RCC_CRSInitStruct.Source = RCC_CRS_SYNC_SOURCE_USB;
  RCC_CRSInitStruct.Polarity = RCC_CRS_SYNC_POLARITY_RISING;
  RCC_CRSInitStruct.ReloadValue =
      __HAL_RCC_CRS_RELOADVALUE_CALCULATE(48000000U, 1000U);
  RCC_CRSInitStruct.ErrorLimitValue = 34U;
  RCC_CRSInitStruct.HSI48CalibrationValue = 32U;

  HAL_RCCEx_CRSConfig(&RCC_CRSInitStruct);
}

static void MX_ADC1_Init(void)
{

  ADC_ChannelConfTypeDef sConfig = {0};

  /** Common config
  */
  hadc1.Instance = ADC1;
  hadc1.Init.Resolution = ADC_RESOLUTION_12B;
  hadc1.Init.GainCompensation = 0;
  hadc1.Init.ScanConvMode = ADC_SCAN_DISABLE;
  hadc1.Init.EOCSelection = ADC_EOC_SINGLE_CONV;
  hadc1.Init.LowPowerAutoWait = DISABLE;
  hadc1.Init.ContinuousConvMode = DISABLE;
  hadc1.Init.NbrOfConversion = 1;
  hadc1.Init.DiscontinuousConvMode = DISABLE;
  hadc1.Init.ExternalTrigConv = ADC_SOFTWARE_START;
  hadc1.Init.ExternalTrigConvEdge = ADC_EXTERNALTRIGCONVEDGE_NONE;
  hadc1.Init.Overrun = ADC_OVR_DATA_PRESERVED;
  hadc1.Init.LeftBitShift = ADC_LEFTBITSHIFT_NONE;
  hadc1.Init.ConversionDataManagement = ADC_CONVERSIONDATA_DR;
  hadc1.Init.OversamplingMode = DISABLE;
  if (HAL_ADC_Init(&hadc1) != HAL_OK)
  {
    Error_Handler();
  }

  /** Configure Regular Channel
  */
  sConfig.Channel = ADC_CHANNEL_3;
  sConfig.Rank = ADC_REGULAR_RANK_1;
  sConfig.SamplingTime = ADC_SAMPLETIME_46CYCLES_5;
  sConfig.OffsetNumber = ADC_OFFSET_NONE;
  sConfig.Offset = 0;
  if (HAL_ADC_ConfigChannel(&hadc1, &sConfig) != HAL_OK)
  {
    Error_Handler();
  }

}

static void MX_FDCAN1_Init(void)
{

  hfdcan1.Instance = FDCAN1;
  hfdcan1.Init.ClockDivider = FDCAN_CLOCK_DIV1;
  hfdcan1.Init.FrameFormat = FDCAN_FRAME_CLASSIC;
  hfdcan1.Init.Mode = FDCAN_MODE_NORMAL;
  hfdcan1.Init.AutoRetransmission = ENABLE;
  hfdcan1.Init.TransmitPause = DISABLE;
  hfdcan1.Init.ProtocolException = DISABLE;
  hfdcan1.Init.NominalPrescaler = 12;
  hfdcan1.Init.NominalSyncJumpWidth = 2;
  hfdcan1.Init.NominalTimeSeg1 = 13;
  hfdcan1.Init.NominalTimeSeg2 = 2;
  hfdcan1.Init.DataPrescaler = 1;
  hfdcan1.Init.DataSyncJumpWidth = 1;
  hfdcan1.Init.DataTimeSeg1 = 1;
  hfdcan1.Init.DataTimeSeg2 = 1;
  hfdcan1.Init.StdFiltersNbr = 0;
  hfdcan1.Init.ExtFiltersNbr = 0;
  hfdcan1.Init.TxFifoQueueMode = FDCAN_TX_FIFO_OPERATION;
  if (HAL_FDCAN_Init(&hfdcan1) != HAL_OK)
  {
    Error_Handler();
  }

}

static void MX_SPI4_Init(void)
{

  SPI_AutonomousModeConfTypeDef HAL_SPI_AutonomousMode_Cfg_Struct = {0};

  /* SPI4 parameter configuration*/
  hspi4.Instance = SPI4;
  hspi4.Init.Mode = SPI_MODE_MASTER;
  hspi4.Init.Direction = SPI_DIRECTION_2LINES;
  hspi4.Init.DataSize = SPI_DATASIZE_8BIT;
  hspi4.Init.CLKPolarity = SPI_POLARITY_LOW;
  hspi4.Init.CLKPhase = SPI_PHASE_1EDGE;
  hspi4.Init.NSS = SPI_NSS_SOFT;
  hspi4.Init.BaudRatePrescaler = SPI_BAUDRATEPRESCALER_64;
  hspi4.Init.FirstBit = SPI_FIRSTBIT_MSB;
  hspi4.Init.TIMode = SPI_TIMODE_DISABLE;
  hspi4.Init.CRCCalculation = SPI_CRCCALCULATION_DISABLE;
  hspi4.Init.CRCPolynomial = 0x7;
  hspi4.Init.NSSPMode = SPI_NSS_PULSE_ENABLE;
  hspi4.Init.NSSPolarity = SPI_NSS_POLARITY_LOW;
  hspi4.Init.FifoThreshold = SPI_FIFO_THRESHOLD_01DATA;
  hspi4.Init.MasterSSIdleness = SPI_MASTER_SS_IDLENESS_00CYCLE;
  hspi4.Init.MasterInterDataIdleness = SPI_MASTER_INTERDATA_IDLENESS_00CYCLE;
  hspi4.Init.MasterReceiverAutoSusp = SPI_MASTER_RX_AUTOSUSP_DISABLE;
  hspi4.Init.MasterKeepIOState = SPI_MASTER_KEEP_IO_STATE_DISABLE;
  hspi4.Init.IOSwap = SPI_IO_SWAP_DISABLE;
  hspi4.Init.ReadyMasterManagement = SPI_RDY_MASTER_MANAGEMENT_INTERNALLY;
  hspi4.Init.ReadyPolarity = SPI_RDY_POLARITY_HIGH;
  if (HAL_SPI_Init(&hspi4) != HAL_OK)
  {
    Error_Handler();
  }
  HAL_SPI_AutonomousMode_Cfg_Struct.TriggerState = SPI_AUTO_MODE_DISABLE;
  HAL_SPI_AutonomousMode_Cfg_Struct.TriggerSelection = SPI_GRP1_GPDMA_CH0_TCF_TRG;
  HAL_SPI_AutonomousMode_Cfg_Struct.TriggerPolarity = SPI_TRIG_POLARITY_RISING;
  if (HAL_SPIEx_SetConfigAutonomousMode(&hspi4, &HAL_SPI_AutonomousMode_Cfg_Struct) != HAL_OK)
  {
    Error_Handler();
  }

}

static void MX_TIM3_Init(void)
{

  TIM_ClockConfigTypeDef sClockSourceConfig = {0};
  TIM_MasterConfigTypeDef sMasterConfig = {0};
  TIM_IC_InitTypeDef sConfigIC = {0};

  htim3.Instance = TIM3;
  htim3.Init.Prescaler = 1;
  htim3.Init.CounterMode = TIM_COUNTERMODE_UP;
  htim3.Init.Period = 65535;
  htim3.Init.ClockDivision = TIM_CLOCKDIVISION_DIV1;
  htim3.Init.AutoReloadPreload = TIM_AUTORELOAD_PRELOAD_DISABLE;
  if (HAL_TIM_Base_Init(&htim3) != HAL_OK)
  {
    Error_Handler();
  }
  sClockSourceConfig.ClockSource = TIM_CLOCKSOURCE_INTERNAL;
  if (HAL_TIM_ConfigClockSource(&htim3, &sClockSourceConfig) != HAL_OK)
  {
    Error_Handler();
  }
  if (HAL_TIM_IC_Init(&htim3) != HAL_OK)
  {
    Error_Handler();
  }
  sMasterConfig.MasterOutputTrigger = TIM_TRGO_RESET;
  sMasterConfig.MasterSlaveMode = TIM_MASTERSLAVEMODE_DISABLE;
  if (HAL_TIMEx_MasterConfigSynchronization(&htim3, &sMasterConfig) != HAL_OK)
  {
    Error_Handler();
  }
  sConfigIC.ICPolarity = TIM_INPUTCHANNELPOLARITY_RISING;
  sConfigIC.ICSelection = TIM_ICSELECTION_DIRECTTI;
  sConfigIC.ICPrescaler = TIM_ICPSC_DIV1;
  sConfigIC.ICFilter = 0;
  if (HAL_TIM_IC_ConfigChannel(&htim3, &sConfigIC, TIM_CHANNEL_1) != HAL_OK)
  {
    Error_Handler();
  }
  if (HAL_TIM_IC_ConfigChannel(&htim3, &sConfigIC, TIM_CHANNEL_2) != HAL_OK)
  {
    Error_Handler();
  }

}

void MX_USB_PCD_Init(void)
{

  hpcd_USB_DRD_FS.Instance = USB_DRD_FS;
  hpcd_USB_DRD_FS.Init.dev_endpoints = 8;
  hpcd_USB_DRD_FS.Init.speed = USBD_FS_SPEED;
  hpcd_USB_DRD_FS.Init.phy_itface = PCD_PHY_EMBEDDED;
  hpcd_USB_DRD_FS.Init.Sof_enable = DISABLE;
  hpcd_USB_DRD_FS.Init.low_power_enable = DISABLE;
  hpcd_USB_DRD_FS.Init.lpm_enable = DISABLE;
  hpcd_USB_DRD_FS.Init.battery_charging_enable = DISABLE;
  hpcd_USB_DRD_FS.Init.vbus_sensing_enable = DISABLE;
  hpcd_USB_DRD_FS.Init.bulk_doublebuffer_enable = DISABLE;
  hpcd_USB_DRD_FS.Init.iso_singlebuffer_enable = DISABLE;
  if (HAL_PCD_Init(&hpcd_USB_DRD_FS) != HAL_OK)
  {
    Error_Handler();
  }
  /* USER CODE BEGIN USB_Init 2 */

  /*
   * USB packet memory allocation (PMA).
   * These addresses match ST's official NUCLEO-U3C5ZI-Q
   * Ux_Device_CDC_ACM reference application.
   *
   * EP0 OUT  0x00 -> 0x014
   * EP0 IN   0x80 -> 0x054
   * CDC IN   0x81 -> 0x094
   * CDC OUT  0x01 -> 0x0D4
   * CDC CMD  0x82 -> 0x114
   */
  HAL_PCDEx_PMAConfig(&hpcd_USB_DRD_FS, 0x00, PCD_SNG_BUF, 0x014);
  HAL_PCDEx_PMAConfig(&hpcd_USB_DRD_FS, 0x80, PCD_SNG_BUF, 0x054);
  HAL_PCDEx_PMAConfig(&hpcd_USB_DRD_FS, 0x81, PCD_SNG_BUF, 0x094);
  HAL_PCDEx_PMAConfig(&hpcd_USB_DRD_FS, 0x01, PCD_SNG_BUF, 0x0D4);
  HAL_PCDEx_PMAConfig(&hpcd_USB_DRD_FS, 0x82, PCD_SNG_BUF, 0x114);

  /* USER CODE END USB_Init 2 */

}

static void MX_GPIO_Init(void)
{
  GPIO_InitTypeDef GPIO_InitStruct = {0};

  /* GPIO Ports Clock Enable */
  __HAL_RCC_GPIOE_CLK_ENABLE();
  __HAL_RCC_GPIOF_CLK_ENABLE();
  __HAL_RCC_GPIOC_CLK_ENABLE();
  __HAL_RCC_GPIOA_CLK_ENABLE();
  __HAL_RCC_GPIOD_CLK_ENABLE();
  __HAL_RCC_GPIOB_CLK_ENABLE();

  /*Configure GPIO pin Output Level */
  HAL_GPIO_WritePin(GPIOF, IMU1_CS_Pin|IMU2_CS_Pin, GPIO_PIN_SET);

  /*Configure GPIO pin Output Level */
  HAL_GPIO_WritePin(FDCAN_STBY_GPIO_Port, FDCAN_STBY_Pin, GPIO_PIN_RESET);

  /*Configure GPIO pins : IMU1_CS_Pin IMU2_CS_Pin */
  GPIO_InitStruct.Pin = IMU1_CS_Pin|IMU2_CS_Pin;
  GPIO_InitStruct.Mode = GPIO_MODE_OUTPUT_PP;
  GPIO_InitStruct.Pull = GPIO_NOPULL;
  GPIO_InitStruct.Speed = GPIO_SPEED_FREQ_LOW;
  HAL_GPIO_Init(GPIOF, &GPIO_InitStruct);

  /*Configure GPIO pin : VSENSE_Pin */
  GPIO_InitStruct.Pin = VSENSE_Pin;
  GPIO_InitStruct.Mode = GPIO_MODE_ANALOG;
  GPIO_InitStruct.Pull = GPIO_NOPULL;
  HAL_GPIO_Init(VSENSE_GPIO_Port, &GPIO_InitStruct);

  /*Configure GPIO pin : VBUS_DET_Pin */
  GPIO_InitStruct.Pin = VBUS_DET_Pin;
  GPIO_InitStruct.Mode = GPIO_MODE_INPUT;
  GPIO_InitStruct.Pull = GPIO_NOPULL;
  HAL_GPIO_Init(VBUS_DET_GPIO_Port, &GPIO_InitStruct);

  /*Configure GPIO pin : FDCAN_STBY_Pin */
  GPIO_InitStruct.Pin = FDCAN_STBY_Pin;
  GPIO_InitStruct.Mode = GPIO_MODE_OUTPUT_PP;
  GPIO_InitStruct.Pull = GPIO_NOPULL;
  GPIO_InitStruct.Speed = GPIO_SPEED_FREQ_LOW;
  HAL_GPIO_Init(FDCAN_STBY_GPIO_Port, &GPIO_InitStruct);

}

/* USER CODE BEGIN 4 */

void HAL_TIM_IC_CaptureCallback(TIM_HandleTypeDef *htim)
{
  uint32_t capture;
  uint32_t delta;

  if (htim->Instance != TIM3)
  {
    return;
  }

  if (htim->Channel == HAL_TIM_ACTIVE_CHANNEL_1)
  {
    capture = HAL_TIM_ReadCapturedValue(htim, TIM_CHANNEL_1);
    hall1_edge_count++;

    if (hall1_have_previous != 0U)
    {
      /* 16-bit free-running timer: unsigned wrap subtraction handles one rollover. */
      delta = (uint16_t)(capture - hall1_last_capture);

      if (delta != 0U)
      {
        hall1_period_counts = delta;
        hall1_hz = (float)tim3_counter_hz / (float)delta;
      }
    }

    hall1_last_capture = capture;
    hall1_last_edge_ms = HAL_GetTick();
    hall1_have_previous = 1U;
  }
  else if (htim->Channel == HAL_TIM_ACTIVE_CHANNEL_2)
  {
    capture = HAL_TIM_ReadCapturedValue(htim, TIM_CHANNEL_2);
    hall2_edge_count++;

    if (hall2_have_previous != 0U)
    {
      delta = (uint16_t)(capture - hall2_last_capture);

      if (delta != 0U)
      {
        hall2_period_counts = delta;
        hall2_hz = (float)tim3_counter_hz / (float)delta;
      }
    }

    hall2_last_capture = capture;
    hall2_last_edge_ms = HAL_GetTick();
    hall2_have_previous = 1U;
  }
}

/* USER CODE END 4 */

void Error_Handler(void)
{
  __disable_irq();
  while (1)
  {
  }
}
